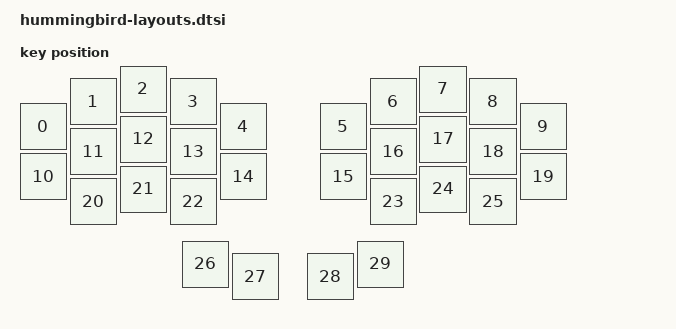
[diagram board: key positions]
#include <physical_layouts.dtsi>

/ {
    physical_layout0: physical_layout_0 {
        compatible = "zmk,physical-layout";
        display-name = "Default";

        keys  //                     w   h    x    y     rot    rx    ry
            = <&key_physical_attrs 100 100    0   75       0     0     0>
            , <&key_physical_attrs 100 100  100   25       0     0     0>
            , <&key_physical_attrs 100 100  200    0       0     0     0>
            , <&key_physical_attrs 100 100  300   25       0     0     0>
            , <&key_physical_attrs 100 100  400   75       0     0     0>
            , <&key_physical_attrs 100 100  600   75       0     0     0>
            , <&key_physical_attrs 100 100  700   25       0     0     0>
            , <&key_physical_attrs 100 100  800    0       0     0     0>
            , <&key_physical_attrs 100 100  900   25       0     0     0>
            , <&key_physical_attrs 100 100 1000   75       0     0     0>
            , <&key_physical_attrs 100 100    0  175       0     0     0>
            , <&key_physical_attrs 100 100  100  125       0     0     0>
            , <&key_physical_attrs 100 100  200  100       0     0     0>
            , <&key_physical_attrs 100 100  300  125       0     0     0>
            , <&key_physical_attrs 100 100  400  175       0     0     0>
            , <&key_physical_attrs 100 100  600  175       0     0     0>
            , <&key_physical_attrs 100 100  700  125       0     0     0>
            , <&key_physical_attrs 100 100  800  100       0     0     0>
            , <&key_physical_attrs 100 100  900  125       0     0     0>
            , <&key_physical_attrs 100 100 1000  175       0     0     0>
            , <&key_physical_attrs 100 100  100  225       0     0     0>
            , <&key_physical_attrs 100 100  200  200       0     0     0>
            , <&key_physical_attrs 100 100  300  225       0     0     0>
            , <&key_physical_attrs 100 100  700  225       0     0     0>
            , <&key_physical_attrs 100 100  800  200       0     0     0>
            , <&key_physical_attrs 100 100  900  225       0     0     0>
            , <&key_physical_attrs 100 100  325  350       0     0     0>
            , <&key_physical_attrs 100 100  425  375       0     0     0>
            , <&key_physical_attrs 100 100  575  375       0     0     0>
            , <&key_physical_attrs 100 100  675  350       0     0     0>
            ;
    };
};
